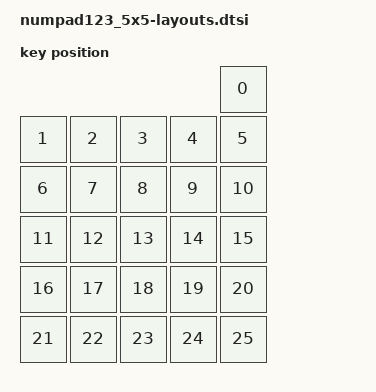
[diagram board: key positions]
#include <physical_layouts.dtsi>

/ {
    physical_layout_numpad123_5x5: physical_layout_numpad123_5x5 {
        compatible = "zmk,physical-layout";
        display-name = "numpad123-5x5";
        keys  //                     w   h    x    y     rot    rx    ry
            = <&key_physical_attrs 100 100  400    0       0   400     0>
            , <&key_physical_attrs 100 100    0  100       0     0   100>
            , <&key_physical_attrs 100 100  100  100       0   100   100>
            , <&key_physical_attrs 100 100  200  100       0   200   100>
            , <&key_physical_attrs 100 100  300  100       0   300   100>
            , <&key_physical_attrs 100 100  400  100       0   400   100>
            , <&key_physical_attrs 100 100    0  200       0     0   200>
            , <&key_physical_attrs 100 100  100  200       0   100   200>
            , <&key_physical_attrs 100 100  200  200       0   200   200>
            , <&key_physical_attrs 100 100  300  200       0   300   200>
            , <&key_physical_attrs 100 100  400  200       0   400   200>
            , <&key_physical_attrs 100 100    0  300       0     0   300>
            , <&key_physical_attrs 100 100  100  300       0   100   300>
            , <&key_physical_attrs 100 100  200  300       0   200   300>
            , <&key_physical_attrs 100 100  300  300       0   300   300>
            , <&key_physical_attrs 100 100  400  300       0   400   300>
            , <&key_physical_attrs 100 100    0  400       0     0   400>
            , <&key_physical_attrs 100 100  100  400       0   100   400>
            , <&key_physical_attrs 100 100  200  400       0   200   400>
            , <&key_physical_attrs 100 100  300  400       0   300   400>
            , <&key_physical_attrs 100 100  400  400       0   400   400>
            , <&key_physical_attrs 100 100    0  500       0     0   500>
            , <&key_physical_attrs 100 100  100  500       0   100   500>
            , <&key_physical_attrs 100 100  200  500       0   200   500>
            , <&key_physical_attrs 100 100  300  500       0   300   500>
            , <&key_physical_attrs 100 100  400  500       0   400   500>
            ;
    };
};
